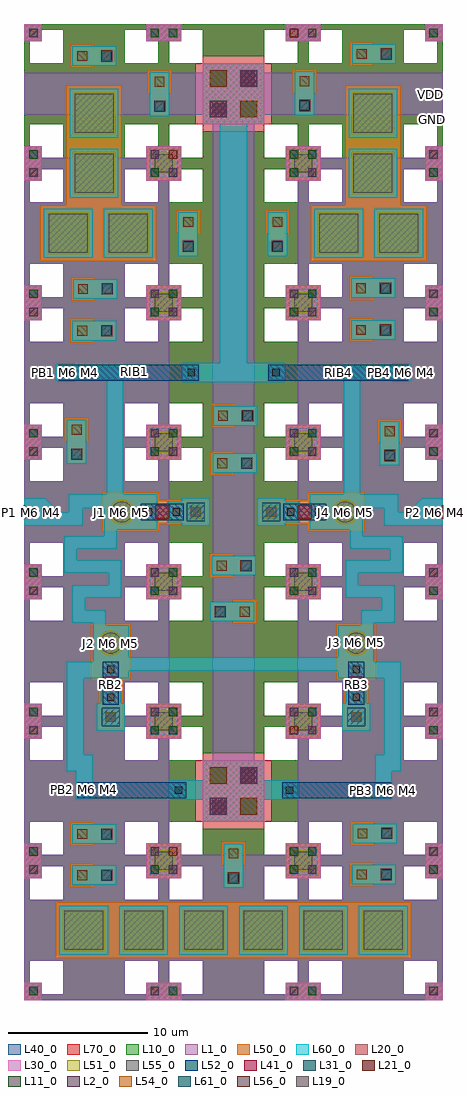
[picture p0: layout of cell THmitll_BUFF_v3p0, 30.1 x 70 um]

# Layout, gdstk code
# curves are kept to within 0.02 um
from math import pi, radians
import gdstk
lib = gdstk.Library(unit=1e-6, precision=1e-09)
def R(c, l, rs):  # rectangles x0, y0, x1, y1
    for r in rs: c.add(gdstk.rectangle(r[:2], r[2:], *l))
def A(c, l, x, y, w, h, nx, ny, dx, dy):  # array of equal rectangles
    R(c, l, [(x+i*dx, y+j*dy, x+i*dx+w, y+j*dy+h) for i in range(nx) for j in range(ny)])
def P(c, l, *ps):  # polygons
    for p in ps: c.add(gdstk.Polygon(p, *l))
L1_0 = (1, 0)
L2_0 = (2, 0)
L10_0 = (10, 0)
L11_0 = (11, 0)
L19_0 = (19, 0)
L20_0 = (20, 0)
L21_0 = (21, 0)
L30_0 = (30, 0)
L31_0 = (31, 0)
L40_0 = (40, 0)
L41_0 = (41, 0)
L50_0 = (50, 0)
L51_0 = (51, 0)
L52_0 = (52, 0)
L54_0 = (54, 0)
L55_0 = (55, 0)
L56_0 = (56, 0)
L60_0 = (60, 0)
L61_0 = (61, 0)
L70_0 = (70, 0)

ls_tr_m7_1 = lib.new_cell('ls_tr_M7$1')
P(ls_tr_m7_1, L70_0, [(0,0),(0,10),(1.25,10),(1.25,8.75),(0.4,8.75),(0.4,1.25),(1.25,1.25),(1.25,0.4),(2.8,0.4),(2.8,2.8),(0.4,2.8),(0.4,7.2),(2.8,7.2),(2.8,9.6),(1.25,9.6),(1.25,10),(7.2,10),(7.2,0.4),(8.75,0.4),(8.75,1.25),(9.6,1.25),(9.6,2.8),(7.2,2.8),(7.2,7.2),(9.6,7.2),(9.6,8.75),(8.75,8.75),(8.75,9.6),(7.2,9.6),(7.2,10),(10,10),(10,0)])

ls_tr_u_m4_nptl = lib.new_cell('ls_tr_u_M4_NPTL')
P(ls_tr_u_m4_nptl, L1_0, [(0,0),(0,10),(1.25,10),(1.25,8.75),(0.4,8.75),(0.4,1.25),(1.25,1.25),(1.25,0.4),(2.8,0.4),(2.8,2.8),(0.4,2.8),(0.4,7.2),(2.8,7.2),(2.8,9.6),(1.25,9.6),(1.25,10),(7.2,10),(7.2,0.4),(8.75,0.4),(8.75,1.25),(9.6,1.25),(9.6,2.8),(7.2,2.8),(7.2,7.2),(9.6,7.2),(9.6,8.75),(8.75,8.75),(8.75,9.6),(7.2,9.6),(7.2,10),(10,10),(10,0)])
R(ls_tr_u_m4_nptl, L2_0, [(9.05,0.35,9.65,0.95), (0.35,9.05,0.95,9.65)])
R(ls_tr_u_m4_nptl, L10_0, [(0,0,1.25,1.25), (8.75,0,10,1.25), (0,8.75,1.25,10), (8.75,8.75,10,10)])
P(ls_tr_u_m4_nptl, L10_0, [(1.25,0),(1.25,0.4),(2.8,0.4),(2.8,2.8),(0.4,2.8),(0.4,1.25),(0,1.25),(0,8.75),(0.4,8.75),(0.4,7.2),(2.8,7.2),(2.8,9.6),(1.25,9.6),(1.25,10),(8.75,10),(8.75,9.6),(7.2,9.6),(7.2,7.2),(9.6,7.2),(9.6,8.75),(10,8.75),(10,1.25),(9.6,1.25),(9.6,2.8),(7.2,2.8),(7.2,0.4),(8.75,0.4),(8.75,0)])
R(ls_tr_u_m4_nptl, L11_0, [(0.35,0.35,0.95,0.95), (9.05,9.05,9.65,9.65)])
R(ls_tr_u_m4_nptl, L20_0, [(0,0,1.25,1.25), (8.75,0,10,1.25), (0,8.75,1.25,10), (8.75,8.75,10,10)])
R(ls_tr_u_m4_nptl, L21_0, [(9.05,0.35,9.65,0.95), (0.35,9.05,0.95,9.65)])
R(ls_tr_u_m4_nptl, L30_0, [(0,0,1.25,1.25), (8.75,0,10,1.25), (0,8.75,1.25,10), (8.75,8.75,10,10)])
R(ls_tr_u_m4_nptl, L31_0, [(0.35,0.35,0.95,0.95), (9.05,9.05,9.65,9.65)])
P(ls_tr_u_m4_nptl, L40_0, [(0,0),(0,10),(1.25,10),(1.25,8.75),(0.4,8.75),(0.4,1.25),(1.25,1.25),(1.25,0.4),(2.8,0.4),(2.8,2.8),(0.4,2.8),(0.4,7.2),(2.8,7.2),(2.8,9.6),(1.25,9.6),(1.25,10),(7.2,10),(7.2,0.4),(8.75,0.4),(8.75,1.25),(9.6,1.25),(9.6,2.8),(7.2,2.8),(7.2,7.2),(9.6,7.2),(9.6,8.75),(8.75,8.75),(8.75,9.6),(7.2,9.6),(7.2,10),(10,10),(10,0)])
ls_tr_u_m4_nptl.add(gdstk.Reference(ls_tr_m7_1, (0,0)))

ls_tr_m7 = lib.new_cell('ls_tr_M7')
P(ls_tr_m7, L70_0, [(0,0),(0,10),(1.25,10),(1.25,8.75),(0.4,8.75),(0.4,1.25),(1.25,1.25),(1.25,0.4),(2.8,0.4),(2.8,2.8),(0.4,2.8),(0.4,7.2),(2.8,7.2),(2.8,9.6),(1.25,9.6),(1.25,10),(7.2,10),(7.2,0.4),(8.75,0.4),(8.75,1.25),(9.6,1.25),(9.6,2.8),(7.2,2.8),(7.2,7.2),(9.6,7.2),(9.6,8.75),(8.75,8.75),(8.75,9.6),(7.2,9.6),(7.2,10),(10,10),(10,0)])

ls_tr_u_m4_alt = lib.new_cell('ls_tr_u_M4_alt')
R(ls_tr_u_m4_alt, L1_0, [(0,0,1.25,1.25), (8.75,0,10,1.25), (0,8.75,1.25,10), (8.75,8.75,10,10)])
R(ls_tr_u_m4_alt, L2_0, [(9.05,0.35,9.65,0.95), (0.35,9.05,0.95,9.65)])
R(ls_tr_u_m4_alt, L10_0, [(0,0,1.25,1.25), (1.25,0,8.75,0.4), (8.75,0,10,1.25), (2.8,0.4,7.2,9.6), (0,1.25,0.4,8.75), (9.6,1.25,10,8.75), (0.4,2.8,2.8,7.2), (7.2,2.8,9.6,7.2), (0,8.75,1.25,10), (8.75,8.75,10,10), (1.25,9.6,8.75,10)])
R(ls_tr_u_m4_alt, L11_0, [(0.35,0.35,0.95,0.95), (9.05,9.05,9.65,9.65)])
R(ls_tr_u_m4_alt, L20_0, [(0,0,1.25,1.25), (8.75,0,10,1.25), (0,8.75,1.25,10), (8.75,8.75,10,10)])
R(ls_tr_u_m4_alt, L21_0, [(9.05,0.35,9.65,0.95), (0.35,9.05,0.95,9.65)])
R(ls_tr_u_m4_alt, L30_0, [(0,0,1.25,1.25), (8.75,0,10,1.25), (0,8.75,1.25,10), (8.75,8.75,10,10)])
R(ls_tr_u_m4_alt, L31_0, [(0.35,0.35,0.95,0.95), (9.05,9.05,9.65,9.65)])
P(ls_tr_u_m4_alt, L40_0, [(0,0),(0,10),(1.25,10),(1.25,8.75),(0.4,8.75),(0.4,1.25),(1.25,1.25),(1.25,0.4),(2.8,0.4),(2.8,2.8),(0.4,2.8),(0.4,7.2),(2.8,7.2),(2.8,9.6),(1.25,9.6),(1.25,10),(7.2,10),(7.2,0.4),(8.75,0.4),(8.75,1.25),(9.6,1.25),(9.6,2.8),(7.2,2.8),(7.2,7.2),(9.6,7.2),(9.6,8.75),(8.75,8.75),(8.75,9.6),(7.2,9.6),(7.2,10),(10,10),(10,0)])
ls_tr_u_m4_alt.add(gdstk.Reference(ls_tr_m7, (0,0)))

th_ib_175 = lib.new_cell('th_ib_175')
R(th_ib_175, L52_0, [(-0.575,0,0.575,10.05)])
R(th_ib_175, L56_0, [(-0.26,0.29,0.26,0.81), (-0.26,9.26,0.26,9.78)])
R(th_ib_175, L60_0, [(-0.625,-0.1,0.625,1.175), (-0.625,8.9,0.625,10.15)])

ls_tr_bias_pillar_m0m6 = lib.new_cell('ls_tr_bias_pillar_M0M6')
R(ls_tr_bias_pillar_m0m6, L1_0, [(0,0,1.25,1.25), (8.75,0,10,1.25), (2.8,2.8,7.2,7.2), (0,8.75,1.25,10), (8.75,8.75,10,10)])
R(ls_tr_bias_pillar_m0m6, L2_0, [(5.5,3.3,6.7,4.5), (3.3,5.5,4.5,6.7)])
R(ls_tr_bias_pillar_m0m6, L10_0, [(0,0,1.25,1.25), (8.75,0,10,1.25), (2.8,2.8,7.2,7.2), (0,8.75,1.25,10), (8.75,8.75,10,10)])
P(ls_tr_bias_pillar_m0m6, L10_0, [(0,0),(0,10),(7.2,10),(7.2,7.7),(2.8,7.7),(2.8,9.6),(1.25,9.6),(1.25,8.75),(0.4,8.75),(0.4,7.2),(2.3,7.2),(2.3,2.8),(0.4,2.8),(0.4,1.25),(1.25,1.25),(1.25,0.4),(2.8,0.4),(2.8,2.3),(7.2,2.3),(7.2,0.4),(8.75,0.4),(8.75,1.25),(9.6,1.25),(9.6,2.8),(7.7,2.8),(7.7,7.2),(9.6,7.2),(9.6,8.75),(8.75,8.75),(8.75,9.6),(7.2,9.6),(7.2,10),(10,10),(10,0)])
R(ls_tr_bias_pillar_m0m6, L11_0, [(0.35,0.35,0.95,0.95), (3.3,3.3,4.5,4.5), (5.5,5.5,6.7,6.7), (9.05,9.05,9.65,9.65)])
R(ls_tr_bias_pillar_m0m6, L20_0, [(0,0,1.25,1.25), (8.75,0,10,1.25), (2.8,2.8,7.2,7.2), (0,8.75,1.25,10), (8.75,8.75,10,10)])
R(ls_tr_bias_pillar_m0m6, L21_0, [(9.05,0.35,9.65,0.95), (5.5,3.3,6.7,4.5), (3.3,5.5,4.5,6.7), (0.35,9.05,0.95,9.65)])
R(ls_tr_bias_pillar_m0m6, L30_0, [(0,0,1.25,1.25), (8.75,0,10,1.25), (2.8,2.8,7.2,7.2), (0,8.75,1.25,10), (8.75,8.75,10,10)])
R(ls_tr_bias_pillar_m0m6, L31_0, [(0.35,0.35,0.95,0.95), (3.3,3.3,4.5,4.5), (5.5,5.5,6.7,6.7), (9.05,9.05,9.65,9.65)])
R(ls_tr_bias_pillar_m0m6, L40_0, [(2.8,2.8,7.2,7.2)])
P(ls_tr_bias_pillar_m0m6, L40_0, [(0,0),(0,10),(7.2,10),(7.2,7.7),(2.8,7.7),(2.8,9.6),(1.25,9.6),(1.25,8.75),(0.4,8.75),(0.4,7.2),(2.3,7.2),(2.3,2.8),(0.4,2.8),(0.4,1.25),(1.25,1.25),(1.25,0.4),(2.8,0.4),(2.8,2.3),(7.2,2.3),(7.2,0.4),(8.75,0.4),(8.75,1.25),(9.6,1.25),(9.6,2.8),(7.7,2.8),(7.7,7.2),(9.6,7.2),(9.6,8.75),(8.75,8.75),(8.75,9.6),(7.2,9.6),(7.2,10),(10,10),(10,0)])
R(ls_tr_bias_pillar_m0m6, L41_0, [(5.5,3.3,6.7,4.5), (3.3,5.5,4.5,6.7)])
R(ls_tr_bias_pillar_m0m6, L50_0, [(2.8,2.8,7.2,7.2)])
R(ls_tr_bias_pillar_m0m6, L54_0, [(3.3,3.3,4.5,4.5), (5.5,5.5,6.7,6.7)])
R(ls_tr_bias_pillar_m0m6, L60_0, [(2.8,2.8,7.2,7.2)])
P(ls_tr_bias_pillar_m0m6, L70_0, [(0,0),(0,10),(1.25,10),(1.25,8.75),(0.4,8.75),(0.4,1.25),(1.25,1.25),(1.25,0.4),(2.8,0.4),(2.8,2.8),(0.4,2.8),(0.4,7.2),(2.8,7.2),(2.8,9.6),(1.25,9.6),(1.25,10),(7.2,10),(7.2,0.4),(8.75,0.4),(8.75,1.25),(9.6,1.25),(9.6,2.8),(7.2,2.8),(7.2,7.2),(9.6,7.2),(9.6,8.75),(8.75,8.75),(8.75,9.6),(7.2,9.6),(7.2,10),(10,10),(10,0)])

th_ib_2375 = lib.new_cell('th_ib_2375')
R(th_ib_2375, L52_0, [(-0.575,0,0.575,7.8)])
R(th_ib_2375, L56_0, [(-0.26,0.29,0.26,0.81), (-0.26,7.02,0.26,7.54)])
R(th_ib_2375, L60_0, [(-0.625,-0.1,0.625,1.175), (-0.625,6.65,0.625,7.9)])

ls_conn_m5m6m7 = lib.new_cell('ls_conn_M5M6M7')
R(ls_conn_m5m6m7, L60_0, [(-0.65,-0.65,1.35,1.35)])
R(ls_conn_m5m6m7, L61_0, [(-0.3,-0.3,1,1)])
R(ls_conn_m5m6m7, L70_0, [(-0.65,-0.65,1.35,1.35)])

th_jj_250_sg = lib.new_cell('th_jj_250_sg')
R(th_jj_250_sg, L41_0, [(-0.5,2.4,0.5,3.4)])
R(th_jj_250_sg, L50_0, [(-1.425,-1.425,1.425,2.625), (-0.875,2.625,0.875,6.175)])
P(th_jj_250_sg, L51_0, [(0,-0.91),(-0.18,-0.895),(-0.35,-0.84),(-0.645,-0.645),(-0.84,-0.35),(-0.91,0),(-0.895,0.18),(-0.84,0.35),(-0.645,0.645),(-0.35,0.84),(-0.18,0.895),(0,0.91),(0.18,0.895),(0.35,0.84),(0.645,0.645),(0.84,0.35),(0.895,0.18),(0.91,0),(0.84,-0.35),(0.645,-0.645),(0.35,-0.84),(0.18,-0.895)])
R(th_jj_250_sg, L52_0, [(-0.575,1.35,0.575,4.425)])
R(th_jj_250_sg, L54_0, [(-0.35,4.95,0.35,5.65)])
P(th_jj_250_sg, L55_0, [(0,-0.76),(-0.15,-0.75),(-0.29,-0.7),(-0.54,-0.54),(-0.7,-0.29),(-0.75,-0.15),(-0.76,0),(-0.75,0.15),(-0.7,0.29),(-0.54,0.54),(-0.29,0.7),(-0.15,0.75),(0,0.76),(0.15,0.75),(0.29,0.7),(0.54,0.54),(0.7,0.29),(0.75,0.15),(0.76,0),(0.75,-0.15),(0.7,-0.29),(0.54,-0.54),(0.29,-0.7),(0.15,-0.75)])
R(th_jj_250_sg, L56_0, [(-0.26,1.64,0.26,2.16), (-0.26,3.63,0.26,4.15)])
R(th_jj_250_sg, L60_0, [(-1.275,-1.275,1.275,2.525), (-0.725,3.25,0.725,6.025)])
th_jj_250_sg.add(gdstk.Reference(ls_conn_m5m6m7, (0.35,5.65), rotation=pi))

ls_fakejj_3umx3um = lib.new_cell('ls_FakeJJ_3umx3um')
R(ls_fakejj_3umx3um, L40_0, [(-2,-2,2,2)])
R(ls_fakejj_3umx3um, L50_0, [(-2,-2,2,2)])
R(ls_fakejj_3umx3um, L51_0, [(-1.5,-1.5,1.5,1.5)])
R(ls_fakejj_3umx3um, L55_0, [(-1.4,-1.4,1.4,1.4)])
R(ls_fakejj_3umx3um, L60_0, [(-1.75,-1.75,1.75,1.75)])

ls_conn_m4m5m6m7 = lib.new_cell('ls_conn_M4M5M6M7')
R(ls_conn_m4m5m6m7, L40_0, [(0,0,1.4,1.4)])
R(ls_conn_m4m5m6m7, L41_0, [(0.3,0.3,1.1,1.1)])
P(ls_conn_m4m5m6m7, L50_0, [(1.6,-0.15),(1.6,0),(0,0),(0,1.4),(1.6,1.4),(1.6,1.55),(3.3,1.55),(3.3,-0.15)])
R(ls_conn_m4m5m6m7, L54_0, [(2.1,0.35,2.8,1.05)])
R(ls_conn_m4m5m6m7, L60_0, [(0,0,3.15,1.4)])
R(ls_conn_m4m5m6m7, L61_0, [(0.35,0.35,1.05,1.05)])
R(ls_conn_m4m5m6m7, L70_0, [(0,0,1.4,1.4)])

ls_fakejj_1p5x1p5um = lib.new_cell('ls_FakeJJ_1p5x1p5um')
R(ls_fakejj_1p5x1p5um, L40_0, [(-1.25,-1.25,1.25,1.25)])
R(ls_fakejj_1p5x1p5um, L50_0, [(-1.25,-1.25,1.25,1.25)])
R(ls_fakejj_1p5x1p5um, L51_0, [(-0.75,-0.75,0.75,0.75)])
R(ls_fakejj_1p5x1p5um, L55_0, [(-0.65,-0.65,0.65,0.65)])
R(ls_fakejj_1p5x1p5um, L60_0, [(-1,-1,1,1)])

thmitll_buff_v3p0 = lib.new_cell('THmitll_BUFF_v3p0')
A(thmitll_buff_v3p0, L1_0, 10, 11.25, 0.4, 7.5, 1, 5, 0, 10)
A(thmitll_buff_v3p0, L1_0, 19.6, 11.25, 0.4, 7.5, 1, 5, 0, 10)
R(thmitll_buff_v3p0, L1_0, [(11.25,10,18.75,10.4), (1.25,60,8.75,60.4), (21.25,60,28.75,60.4)])
R(thmitll_buff_v3p0, L19_0, [(4.05,14.8,4.55,15.3), (25.5,14.8,26,15.3), (2.7,44.7,3.3,45.25), (26.75,44.75,27.35,45.25)])
R(thmitll_buff_v3p0, L50_0, [(2.25,3,27.75,7), (1.15,53,9.45,57), (20.55,53,28.85,57), (23,56.75,27,65.6), (3,56.8,7,65.6)])
P(thmitll_buff_v3p0, L60_0, [(1.5,35),(1.5,36),(2.5,35)],
  [(27.5,35),(28.5,36),(28.5,35)])
thmitll_buff_v3p0.add(gdstk.FlexPath([(6.175,33.85),(6.175,32.8),(3.3,32.8),(3.3,31.1),(6.5,31.1),(6.5,29.3),(3.9,29.3),(3.9,27.5),(5.375,27.5),(5.375,26.75)], 0.9, ends="flush", simple_path=True, layer=60, datatype=0))  # L60_0
thmitll_buff_v3p0.add(gdstk.FlexPath([(23.825,33.85),(23.825,32.8),(26.7,32.8),(26.7,31.1),(23.5,31.1),(23.5,29.3),(26.1,29.3),(26.1,27.5),(24.625,27.5),(24.625,26.75)], 0.9, ends="flush", simple_path=True, layer=60, datatype=0))  # L60_0
thmitll_buff_v3p0.add(gdstk.FlexPath([(7.4,24.1),(22.6,24.1)], 1, ends="flush", simple_path=True, layer=60, datatype=0))  # L60_0
thmitll_buff_v3p0.add(gdstk.FlexPath([(10.35,15.05),(13,15.05)], 1.4, ends="flush", simple_path=True, layer=60, datatype=0))  # L60_0
thmitll_buff_v3p0.add(gdstk.FlexPath([(17,15.05),(19.7,15.05)], 1.4, ends="flush", simple_path=True, layer=60, datatype=0))  # L60_0
thmitll_buff_v3p0.add(gdstk.FlexPath([(15,65),(15,45)], 2, ends="flush", simple_path=True, layer=60, datatype=0))  # L60_0
thmitll_buff_v3p0.add(gdstk.FlexPath([(11.3,45),(18.7,45)], 1.4, ends="flush", simple_path=True, layer=60, datatype=0))  # L60_0
thmitll_buff_v3p0.add(gdstk.FlexPath([(0,35),(1.5,35)], 2, ends="flush", simple_path=True, layer=60, datatype=0))  # L60_0
thmitll_buff_v3p0.add(gdstk.FlexPath([(1.5,34.5),(3.7,34.5),(3.7,35.775),(5.8,35.775)], 1, ends="flush", simple_path=True, layer=60, datatype=0))  # L60_0
thmitll_buff_v3p0.add(gdstk.FlexPath([(28.5,34.5),(26.3,34.5),(26.3,35.775),(24.2,35.775)], 1, ends="flush", simple_path=True, layer=60, datatype=0))  # L60_0
thmitll_buff_v3p0.add(gdstk.FlexPath([(28.5,35),(30,35)], 2, ends="flush", simple_path=True, layer=60, datatype=0))  # L60_0
thmitll_buff_v3p0.add(gdstk.FlexPath([(2.25,45),(6.5,45),(6.5,36.15)], 1.2, ends="flush", simple_path=True, layer=60, datatype=0))  # L60_0
thmitll_buff_v3p0.add(gdstk.FlexPath([(27.75,45),(23.5,45),(23.5,36.15)], 1.2, ends="flush", simple_path=True, layer=60, datatype=0))  # L60_0
thmitll_buff_v3p0.add(gdstk.FlexPath([(4.3,14.35),(4.3,17),(3.65,17),(3.65,23.675),(5.05,23.675)], 1.2, ends="flush", simple_path=True, layer=60, datatype=0))  # L60_0
thmitll_buff_v3p0.add(gdstk.FlexPath([(25.75,14.35),(25.75,17),(26.4,17),(26.4,23.675),(25,23.675)], 1.2, ends="flush", simple_path=True, layer=60, datatype=0))  # L60_0
thmitll_buff_v3p0.add(gdstk.FlexPath([(0,65),(30,65)], 3, ends="flush", simple_path=True, layer=1, datatype=0))  # L1_0
thmitll_buff_v3p0.add(gdstk.FlexPath([(15,65),(15,15)], 3, ends="flush", simple_path=True, layer=1, datatype=0))  # L1_0
thmitll_buff_v3p0.add(gdstk.FlexPath([(0,35.5),(0,34.5)], 0.1, ends="flush", simple_path=True, layer=19, datatype=0))  # L19_0
thmitll_buff_v3p0.add(gdstk.FlexPath([(30,34.5),(30,35.5)], 0.1, ends="flush", simple_path=True, layer=19, datatype=0))  # L19_0
r = gdstk.Reference(ls_tr_u_m4_nptl, (30,60), rotation=pi); r.repetition = gdstk.Repetition(1, 6, v1=(0,0), v2=(0,-10)); thmitll_buff_v3p0.add(r)
r = gdstk.Reference(ls_tr_u_m4_nptl, (10,60), rotation=pi); r.repetition = gdstk.Repetition(1, 6, v1=(0,0), v2=(0,-10)); thmitll_buff_v3p0.add(r)
r = gdstk.Reference(ls_tr_u_m4_alt, (20,60), rotation=pi); r.repetition = gdstk.Repetition(1, 4, v1=(0,0), v2=(0,-10)); thmitll_buff_v3p0.add(r)
thmitll_buff_v3p0.add(gdstk.Reference(ls_tr_u_m4_alt, (10,70), rotation=pi))
thmitll_buff_v3p0.add(gdstk.Reference(th_ib_175, (17.5,45), rotation=3*pi/2))
thmitll_buff_v3p0.add(gdstk.Reference(th_ib_175, (2.45,45), rotation=3*pi/2))
thmitll_buff_v3p0.add(gdstk.Reference(ls_tr_bias_pillar_m0m6, (10,20), rotation=3*pi/2))
thmitll_buff_v3p0.add(gdstk.Reference(ls_tr_u_m4_nptl, (20,10), rotation=pi))
thmitll_buff_v3p0.add(gdstk.Reference(ls_tr_bias_pillar_m0m6, (10,70), rotation=3*pi/2))
thmitll_buff_v3p0.add(gdstk.Reference(ls_tr_u_m4_alt, (20,60)))
thmitll_buff_v3p0.add(gdstk.Reference(th_ib_2375, (11.6,15.05), rotation=pi/2))
thmitll_buff_v3p0.add(gdstk.Reference(th_ib_2375, (26.3,15.05), rotation=pi/2))
thmitll_buff_v3p0.add(gdstk.Reference(th_jj_250_sg, (7,35), rotation=3*pi/2))
thmitll_buff_v3p0.add(gdstk.Reference(th_jj_250_sg, (23,35), rotation=pi/2))
thmitll_buff_v3p0.add(gdstk.Reference(th_jj_250_sg, (6.2,25.6), rotation=pi))
thmitll_buff_v3p0.add(gdstk.Reference(th_jj_250_sg, (23.8,25.6), rotation=pi))
r = gdstk.Reference(ls_fakejj_3umx3um, (25.75,5), rotation=pi); r.repetition = gdstk.Repetition(6, 1, v1=(-4.3,0), v2=(0,0)); thmitll_buff_v3p0.add(r)
thmitll_buff_v3p0.add(gdstk.Reference(ls_conn_m4m5m6m7, (15.7,8.05), rotation=pi/2))
thmitll_buff_v3p0.add(gdstk.Reference(ls_conn_m4m5m6m7, (6.6,9.65), rotation=pi))
thmitll_buff_v3p0.add(gdstk.Reference(ls_conn_m4m5m6m7, (6.6,12.6), rotation=pi))
thmitll_buff_v3p0.add(gdstk.Reference(ls_conn_m4m5m6m7, (26.7,12.65), rotation=pi))
thmitll_buff_v3p0.add(gdstk.Reference(ls_conn_m4m5m6m7, (26.65,9.7), rotation=pi))
thmitll_buff_v3p0.add(gdstk.Reference(ls_conn_m4m5m6m7, (4.45,38.45), rotation=pi/2))
thmitll_buff_v3p0.add(gdstk.Reference(ls_conn_m4m5m6m7, (26.9,38.35), rotation=pi/2))
thmitll_buff_v3p0.add(gdstk.Reference(ls_fakejj_1p5x1p5um, (10,60), rotation=pi/2))
thmitll_buff_v3p0.add(gdstk.Reference(ls_fakejj_1p5x1p5um, (20,60), rotation=pi/2))
thmitll_buff_v3p0.add(gdstk.Reference(ls_fakejj_1p5x1p5um, (20,50), rotation=pi/2))
thmitll_buff_v3p0.add(gdstk.Reference(ls_fakejj_1p5x1p5um, (10,50), rotation=pi/2))
thmitll_buff_v3p0.add(gdstk.Reference(ls_fakejj_1p5x1p5um, (10,40), rotation=pi/2))
thmitll_buff_v3p0.add(gdstk.Reference(ls_fakejj_1p5x1p5um, (20,40), rotation=pi/2))
thmitll_buff_v3p0.add(gdstk.Reference(ls_fakejj_1p5x1p5um, (20,30), rotation=pi/2))
thmitll_buff_v3p0.add(gdstk.Reference(ls_fakejj_1p5x1p5um, (10,30), rotation=pi/2))
thmitll_buff_v3p0.add(gdstk.Reference(ls_fakejj_1p5x1p5um, (10,20), rotation=pi/2))
thmitll_buff_v3p0.add(gdstk.Reference(ls_fakejj_1p5x1p5um, (20,20), rotation=pi/2))
thmitll_buff_v3p0.add(gdstk.Reference(ls_fakejj_1p5x1p5um, (20,10), rotation=pi/2))
thmitll_buff_v3p0.add(gdstk.Reference(ls_fakejj_1p5x1p5um, (10,10), rotation=pi/2))
r = gdstk.Reference(ls_fakejj_3umx3um, (26.85,55), rotation=pi/2); r.repetition = gdstk.Repetition(1, 2, v1=(0,0), v2=(-4.3,0)); thmitll_buff_v3p0.add(r)
r = gdstk.Reference(ls_fakejj_3umx3um, (5,59.3), rotation=pi/2); r.repetition = gdstk.Repetition(2, 1, v1=(0,4.3), v2=(0,0)); thmitll_buff_v3p0.add(r)
r = gdstk.Reference(ls_fakejj_3umx3um, (25,59.3), rotation=pi/2); r.repetition = gdstk.Repetition(2, 1, v1=(0,4.3), v2=(0,0)); thmitll_buff_v3p0.add(r)
thmitll_buff_v3p0.add(gdstk.Reference(ls_conn_m4m5m6m7, (6.65,51.7), rotation=pi))
thmitll_buff_v3p0.add(gdstk.Reference(ls_conn_m4m5m6m7, (6.6,48.7), rotation=pi))
thmitll_buff_v3p0.add(gdstk.Reference(ls_conn_m4m5m6m7, (26.6,51.75), rotation=pi))
thmitll_buff_v3p0.add(gdstk.Reference(ls_conn_m4m5m6m7, (26.6,48.75), rotation=pi))
thmitll_buff_v3p0.add(gdstk.Reference(ls_conn_m4m5m6m7, (16.7,42.6), rotation=pi))
thmitll_buff_v3p0.add(gdstk.Reference(ls_conn_m4m5m6m7, (16.65,39.2), rotation=pi))
thmitll_buff_v3p0.add(gdstk.Reference(ls_conn_m4m5m6m7, (16.6,31.85), rotation=pi))
thmitll_buff_v3p0.add(gdstk.Reference(ls_conn_m4m5m6m7, (13.35,27.15)))
thmitll_buff_v3p0.add(gdstk.Reference(ls_conn_m4m5m6m7, (6.6,68.4), rotation=pi))
thmitll_buff_v3p0.add(gdstk.Reference(ls_conn_m4m5m6m7, (26.65,68.55), rotation=pi))
thmitll_buff_v3p0.add(gdstk.Reference(ls_conn_m4m5m6m7, (10.4,63.4), rotation=pi/2))
thmitll_buff_v3p0.add(gdstk.Reference(ls_conn_m4m5m6m7, (20.8,63.45), rotation=pi/2))
r = gdstk.Reference(ls_fakejj_3umx3um, (7.45,55), rotation=pi); r.repetition = gdstk.Repetition(2, 1, v1=(-4.3,0), v2=(0,0)); thmitll_buff_v3p0.add(r)
thmitll_buff_v3p0.add(gdstk.Reference(ls_conn_m4m5m6m7, (12.45,53.35), rotation=pi/2))
thmitll_buff_v3p0.add(gdstk.Reference(ls_conn_m4m5m6m7, (18.85,53.35), rotation=pi/2))
thmitll_buff_v3p0.add(gdstk.Label('VDD', (29.1,64.95), layer=1, texttype=0))
thmitll_buff_v3p0.add(gdstk.Label('GND', (29.25,63.15), layer=40, texttype=0))
thmitll_buff_v3p0.add(gdstk.Label('P1 M6 M4', (0,35), layer=182, texttype=0))
thmitll_buff_v3p0.add(gdstk.Label('P2 M6 M4', (30,35), layer=182, texttype=0))
thmitll_buff_v3p0.add(gdstk.Label('q', (30,35), layer=182, texttype=0))
thmitll_buff_v3p0.add(gdstk.Label('a', (0,35), layer=182, texttype=0))
thmitll_buff_v3p0.add(gdstk.Label('J1 M6 M5', (7,35), layer=182, texttype=0))
thmitll_buff_v3p0.add(gdstk.Label('J2 M6 M5', (6.2,25.6), layer=182, texttype=0))
thmitll_buff_v3p0.add(gdstk.Label('J3 M6 M5', (23.8,25.65), layer=182, texttype=0))
thmitll_buff_v3p0.add(gdstk.Label('J4 M6 M5', (23,35), layer=182, texttype=0))
thmitll_buff_v3p0.add(gdstk.Label('PB1 M6 M4', (2.95,45), layer=182, texttype=0))
thmitll_buff_v3p0.add(gdstk.Label('PB4 M6 M4', (27.05,45), layer=182, texttype=0))
thmitll_buff_v3p0.add(gdstk.Label('PB3 M6 M4', (25.75,15.05), layer=182, texttype=0))
thmitll_buff_v3p0.add(gdstk.Label('PB2 M6 M4', (4.3,15.1), layer=182, texttype=0))
thmitll_buff_v3p0.add(gdstk.Label('RB1', (9.85,35), layer=52, texttype=11))
thmitll_buff_v3p0.add(gdstk.Label('RB2', (6.15,22.65), layer=52, texttype=11))
thmitll_buff_v3p0.add(gdstk.Label('RB3', (23.85,22.65), layer=52, texttype=11))
thmitll_buff_v3p0.add(gdstk.Label('RB4', (20.15,34.95), layer=52, texttype=11))
thmitll_buff_v3p0.add(gdstk.Label('RIB1', (7.9,45.1), layer=52, texttype=11))
thmitll_buff_v3p0.add(gdstk.Label('RIB4', (22.55,45), layer=52, texttype=11))
thmitll_buff_v3p0.add(gdstk.Label('RIB2', (7.85,15.05), layer=52, texttype=11))
thmitll_buff_v3p0.add(gdstk.Label('RIB3', (22.3,15.05), layer=52, texttype=11))
thmitll_buff_v3p0.add(gdstk.Label('a', (0,35), layer=60, texttype=5))
thmitll_buff_v3p0.add(gdstk.Label('q', (30,35), layer=60, texttype=5))

lib.write_gds('THmitll_BUFF_v3p0.gds')
